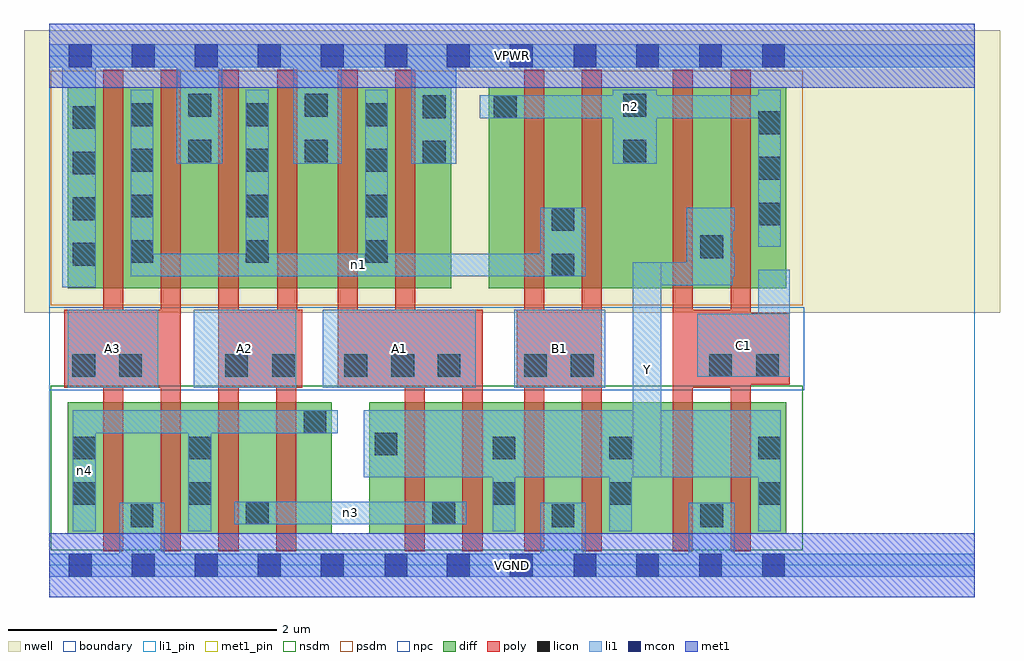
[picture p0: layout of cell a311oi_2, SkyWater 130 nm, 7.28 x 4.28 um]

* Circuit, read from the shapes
.subckt a311oi_2 A1 A2 A3 B1 C1 VGND VPWR Y n1 n2 n3 n4
XM1 VGND A3 n4 VSUBS sky130_fd_pr__nfet_01v8 w=0.98 l=0.15 m=2
XM2 n3 A2 n4 VSUBS sky130_fd_pr__nfet_01v8 w=0.98 l=0.15 m=2
XM3 n3 A1 Y VSUBS sky130_fd_pr__nfet_01v8 w=0.98 l=0.15 m=2
XM4 VGND B1 Y VSUBS sky130_fd_pr__nfet_01v8 w=0.98 l=0.15 m=2
XM5 VGND C1 Y VSUBS sky130_fd_pr__nfet_01v8 w=0.98 l=0.15 m=2
XM6 n1 A3 VPWR n5 sky130_fd_pr__pfet_01v8 w=1.5 l=0.15 m=2
XM7 n1 A2 VPWR n5 sky130_fd_pr__pfet_01v8 w=1.5 l=0.15 m=2
XM8 n1 A1 VPWR n5 sky130_fd_pr__pfet_01v8 w=1.5 l=0.15 m=2
XM9 n1 B1 n2 n5 sky130_fd_pr__pfet_01v8 w=1.5 l=0.15 m=2
XM10 Y C1 n2 n5 sky130_fd_pr__pfet_01v8 w=1.5 l=0.15 m=2
.ends

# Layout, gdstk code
import gdstk
lib = gdstk.Library(unit=1e-6, precision=1e-09)
def R(c, l, rs):  # rectangles x0, y0, x1, y1
    for r in rs: c.add(gdstk.rectangle(r[:2], r[2:], *l))
def A(c, l, x, y, w, h, nx, ny, dx, dy):  # array of equal rectangles
    R(c, l, [(x+i*dx, y+j*dy, x+i*dx+w, y+j*dy+h) for i in range(nx) for j in range(ny)])
nwell = (64, 20)
diff = (65, 20)
poly = (66, 20)
licon = (66, 44)
li1_pin = (67, 16)
li1 = (67, 20)
mcon = (67, 44)
met1_pin = (68, 16)
met1 = (68, 20)
nsdm = (93, 44)
psdm = (94, 20)
npc = (95, 20)
boundary = (235, 4)

a311oi_2 = lib.new_cell('a311oi_2')
R(a311oi_2, nwell, [(-0.19,1.885,7.09,3.99), (0,1.885,6.9,3.99)])
R(a311oi_2, diff, [(0.135,0.235,2.105,1.215), (2.385,0.235,5.495,1.215), (0.135,2.065,2.995,3.565), (3.275,2.065,5.495,3.565)])
A(a311oi_2, poly, 0.4, 0.105, 0.15, 3.59, 3, 1, 0.43, 0)
R(a311oi_2, poly, [(1.69,0.105,1.84,1.905), (2.65,0.105,2.8,1.905), (3.08,0.105,3.23,1.905), (3.54,0.105,3.69,3.695), (3.97,0.105,4.12,3.695), (4.65,0.105,4.8,3.695), (5.08,0.105,5.23,3.695), (0.11,1.325,0.98,1.905), (1.26,1.325,1.885,1.905), (1.7,1.325,1.85,3.695), (2.15,1.325,2.3,3.695), (2.15,1.325,3.23,1.905), (2.58,1.325,2.73,3.695), (3.485,1.325,4.12,1.905), (4.65,1.325,5.23,1.905), (4.65,1.345,5.52,1.885)])
A(a311oi_2, licon, 0.175, 2.235, 0.17, 0.17, 1, 4, 0, 0.34)
A(a311oi_2, licon, 0.605, 2.255, 0.17, 0.17, 1, 4, 0, 0.34)
A(a311oi_2, licon, 1.465, 2.255, 0.17, 0.17, 1, 4, 0, 0.34)
A(a311oi_2, licon, 2.355, 2.255, 0.17, 0.17, 1, 4, 0, 0.34)
A(a311oi_2, licon, 5.285, 2.535, 0.17, 0.17, 1, 3, 0, 0.34)
R(a311oi_2, licon, [(0.605,0.285,0.775,0.455), (3.745,0.285,3.915,0.455), (4.855,0.285,5.025,0.455), (1.465,0.305,1.635,0.475), (2.855,0.305,3.025,0.475), (0.175,0.45,0.345,0.62), (1.035,0.45,1.205,0.62), (3.305,0.45,3.475,0.62), (4.175,0.45,4.345,0.62), (5.285,0.45,5.455,0.62), (0.175,0.79,0.345,0.96), (1.035,0.79,1.205,0.96), (3.305,0.79,3.475,0.96), (4.175,0.79,4.345,0.96), (5.285,0.79,5.455,0.96), (2.425,0.82,2.595,0.99), (1.895,0.985,2.065,1.155), (0.17,1.405,0.34,1.575), (0.52,1.405,0.69,1.575), (1.31,1.405,1.48,1.575), (1.66,1.405,1.83,1.575), (2.2,1.405,2.37,1.575), (2.55,1.405,2.72,1.575), (2.895,1.405,3.065,1.575), (3.54,1.405,3.71,1.575), (3.89,1.405,4.06,1.575), (4.92,1.405,5.09,1.575), (5.27,1.405,5.44,1.575), (3.745,2.155,3.915,2.325), (4.855,2.29,5.025,2.46), (3.745,2.495,3.915,2.665), (2.785,2.995,2.955,3.165), (1.035,3.005,1.205,3.175), (1.905,3.005,2.075,3.175), (4.28,3.005,4.45,3.175), (2.785,3.335,2.955,3.505), (3.315,3.335,3.485,3.505), (1.035,3.345,1.205,3.515), (1.905,3.345,2.075,3.515), (4.28,3.345,4.45,3.515)])
R(a311oi_2, li1_pin, [(4.35,0.655,4.565,2.26), (0.135,1.325,0.81,1.905), (1.075,1.325,1.84,1.905), (2.04,1.325,3.18,1.905), (3.465,1.325,4.145,1.905), (4.83,1.405,5.52,1.875)])
R(a311oi_2, li1, [(0,-0.085,6.9,0.085), (0.52,-0.085,0.86,0.465), (3.66,-0.085,4,0.465), (4.77,-0.085,5.11,0.465), (0.175,0.255,0.345,1.155), (1.035,0.255,1.205,1.155), (3.305,0.255,3.475,1.155), (4.175,0.255,4.345,1.155), (5.285,0.255,5.455,1.155), (1.38,0.305,3.11,0.475), (2.345,0.655,5.455,1.155), (4.35,0.655,4.565,2.26), (0.175,0.985,2.15,1.155), (0.135,1.325,0.81,1.905), (1.075,1.325,1.84,1.905), (2.04,1.325,3.18,1.905), (3.465,1.325,4.145,1.905), (4.83,1.405,5.52,1.875), (5.285,1.405,5.52,2.205), (0.095,2.075,0.345,3.885), (4.35,2.09,5.095,2.26), (4.755,2.09,5.095,2.665), (0.605,2.155,4,2.325), (0.605,2.155,0.775,3.545), (1.465,2.155,1.635,3.545), (2.355,2.155,2.525,3.545), (3.66,2.155,4,2.665), (4.755,2.155,5.11,2.325), (5.285,2.375,5.455,3.545), (4.755,2.495,5.11,2.665), (0.95,2.995,1.29,3.885), (1.82,2.995,2.18,3.885), (2.7,2.995,3.035,3.885), (4.2,2.995,4.53,3.545), (3.21,3.335,5.455,3.505), (0,3.715,6.9,3.885)])
A(a311oi_2, mcon, 0.145, -0.085, 0.17, 0.17, 5, 2, 0.47, 3.8)
A(a311oi_2, mcon, 4.375, -0.085, 0.17, 0.17, 3, 2, 0.47, 3.8)
R(a311oi_2, mcon, [(2.5,-0.085,2.67,0.085), (2.965,-0.085,3.135,0.085), (3.435,-0.085,3.605,0.085), (3.91,-0.085,4.08,0.085), (2.5,3.715,2.67,3.885), (2.965,3.715,3.135,3.885), (3.435,3.715,3.605,3.885), (3.91,3.715,4.08,3.885)])
R(a311oi_2, met1_pin, [(0,-0.24,6.9,0.24), (0,3.56,6.9,4.04)])
R(a311oi_2, met1, [(0,-0.24,6.9,0.24), (0,3.56,6.9,4.04)])
R(a311oi_2, nsdm, [(0.01,0.11,5.62,1.34)])
R(a311oi_2, psdm, [(0.01,1.94,5.62,3.69)])
R(a311oi_2, npc, [(0,1.305,5.63,1.925)])
R(a311oi_2, boundary, [(0,0,6.9,3.8)])
a311oi_2.add(gdstk.Label('A1', (2.61,1.615), layer=67, texttype=5))
a311oi_2.add(gdstk.Label('A2', (1.457,1.615), layer=67, texttype=5))
a311oi_2.add(gdstk.Label('A3', (0.472,1.615), layer=67, texttype=5))
a311oi_2.add(gdstk.Label('B1', (3.805,1.615), layer=67, texttype=5))
a311oi_2.add(gdstk.Label('C1', (5.175,1.64), layer=67, texttype=5))
a311oi_2.add(gdstk.Label('Y', (4.457,1.457), layer=67, texttype=5))
a311oi_2.add(gdstk.Label('n3', (2.245,0.39), layer=67, texttype=5))
a311oi_2.add(gdstk.Label('n4', (0.26,0.705), layer=67, texttype=5))
a311oi_2.add(gdstk.Label('n1', (2.302,2.24), layer=67, texttype=5))
a311oi_2.add(gdstk.Label('n2', (4.332,3.42), layer=67, texttype=5))
a311oi_2.add(gdstk.Label('VPWR', (3.45,3.8), layer=68, texttype=5))
a311oi_2.add(gdstk.Label('VGND', (3.45,0), layer=68, texttype=5))
a311oi_2.add(gdstk.Label('A1', (2.61,1.615), layer=67, texttype=16))
a311oi_2.add(gdstk.Label('A2', (1.457,1.615), layer=67, texttype=16))
a311oi_2.add(gdstk.Label('A3', (0.472,1.615), layer=67, texttype=16))
a311oi_2.add(gdstk.Label('B1', (3.805,1.615), layer=67, texttype=16))
a311oi_2.add(gdstk.Label('C1', (5.175,1.64), layer=67, texttype=16))
a311oi_2.add(gdstk.Label('Y', (4.457,1.457), layer=67, texttype=16))
a311oi_2.add(gdstk.Label('VPWR', (3.45,3.8), layer=68, texttype=16))
a311oi_2.add(gdstk.Label('VGND', (3.45,0), layer=68, texttype=16))

lib.write_gds('a311oi_2.gds')
